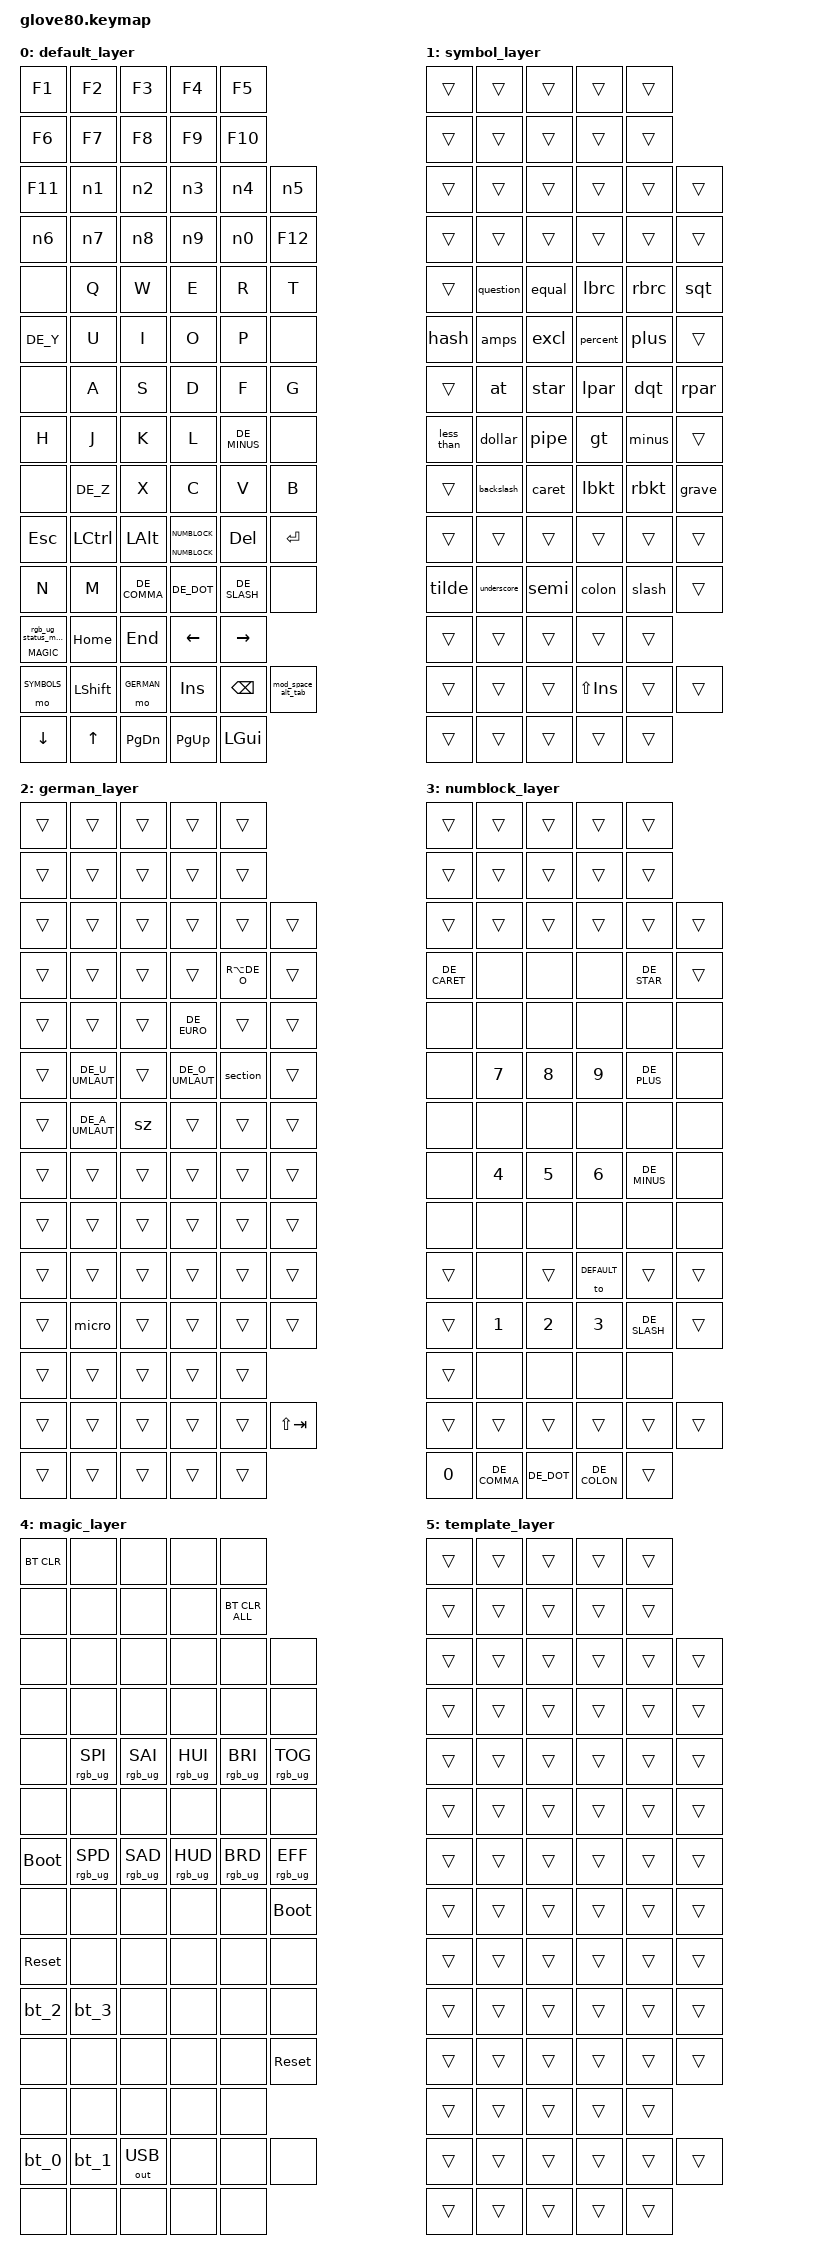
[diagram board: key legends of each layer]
/*
 * Copyright (c) 2020 The ZMK Contributors
 *
 * SPDX-License-Identifier: MIT
 */

#include <behaviors.dtsi>
#include <dt-bindings/zmk/keys.h>
#include <dt-bindings/zmk/bt.h>
#include <dt-bindings/zmk/ext_power.h>
#include <dt-bindings/zmk/outputs.h>
#include <dt-bindings/zmk/rgb.h>

// This layout assumes the host system to use a German keyboard layout!
#include "keys_de.h"

#define HYPER LC(LS(LG(LALT)))

// ø
#define DE_AVG RA(DE_O)

// layers
#define DEFAULT 0
#define SYMBOLS 1
#define GERMAN 2
#define NUMBLOCK 3
#define MAGIC 4

// ZMK behaviors
// &kp key: key press
// &none: nop
// &trans: transparent (use active layer below)
// &mo layer: momentary layer
// &sk key: sticky key (like &kp key but keep pressed until next key is pressed)
// &sl layer: sticky layer
// &to layer: to layer (disable other layers except DEFAULT)
// &lt layer key: layer tab (&mo layer on hold, &kp key on tab)
// &tog layer: toggle layer
// &ht_hp key1 key2: hold tab hold prefered (&kp key1 on hold, &kp key2 on tab)
// &mt key1 key2: mod tap (&ht_hp key1 key2)
// &ht_bl key1 key2: hold tab balanced
// &ht_tp key1 key2: hold tab tab prefered
// &ht_mo_kp layer key: like &ht_bl but with first parameter being a &mo layer
// &ht_mo_to layer1 layer2: like &ht_mo_kp but with second parameter being a &to layer
// &sys_reset: system reset
// &bootloader: start bootloader mode

// Custom behaviors
// &mod_space_tab: mod morph space to tab (&kp SPACE by default, &kp TAB if LSHFT, RSHIFT, LALT or RALT is active)
// &magic layer rgb_ug: MoErgo magic key (tab for keyboard status, hold for magic layer)
// td_symbols: tab dance to SYMBOLS (once for &mo SYMBOLS, twice for &to SYMBOLS)

#define NO_SHIFT(name, key) KP_SHIFT(name, key, key)

#define KP_SHIFT(name, key, shifted)  name: kp_shift_ ## name { compatible = "zmk,behavior-mod-morph"; #binding-cells = <0>; bindings = <&kp key>, <&kp shifted>; mods = <(MOD_LGUI|MOD_LSFT|MOD_RSFT)>; }

/ {
    behaviors {
        td_symbols: tap_dance_0 {
            compatible = "zmk,behavior-tap-dance";
            label = "LAYER_TAP_DANCE";
            #binding-cells = <0>;
            tapping-term-ms = <200>;
            bindings = <&sl SYMBOLS>, <&to SYMBOLS>;
        };

        magic: magic_hold_tap {
            compatible = "zmk,behavior-hold-tap";
            label = "MAGIC_HOLD_TAP";
            #binding-cells = <2>;
            flavor = "tap-preferred";
            tapping-term-ms = <200>;
            bindings = <&mo>, <&rgb_ug_status_macro>;
        };

        ht_mo_kp: hold_tap_balanced_mo_kp {
            compatible = "zmk,behavior-hold-tap";
            flavor = "balanced";
            tapping-term-ms = <200>;
            #binding-cells = <2>;
            bindings = <&mo>, <&kp>;
        };

        ht_mo_to: hold_tap_balanced_mo_to {
            compatible = "zmk,behavior-hold-tap";
            flavor = "balanced";
            tapping-term-ms = <200>;
            #binding-cells = <2>;
            bindings = <&mo>, <&kp>;
        };

        mod_space_tab: mod_morph_space_tab {
            compatible = "zmk,behavior-mod-morph";
            #binding-cells = <0>;
            bindings = <&kp SPACE>, <&kp TAB>;
            mods = <(MOD_LSFT|MOD_RSFT)>;
        };

        mod_space_alt_tab: mod_morph_space_alt_tab {
            compatible = "zmk,behavior-mod-morph";
            #binding-cells = <0>;
            bindings = <&mod_space_tab>, <&kp LA(TAB)>;
            mods = <(MOD_LALT)>;
        };

        mod_bspc_del: mod_morph_backspace_delete {
            compatible = "zmk,behavior-mod-morph";
            #binding-cells = <0>;
            bindings = <&kp BSPC>, <&kp DEL>;
            mods = <(MOD_LSFT|MOD_RSFT)>;
        };

        skq: sticky_key_quick_release {
            compatible = "zmk,behavior-sticky-key";
            #binding-cells = <1>;
            bindings = <&kp>;
            release-after-ms = <1000>;
            quick-release;
            ignore-modifiers;
        };

        // the following keys should not be modified by shift
        NO_SHIFT(n0, N0);
        NO_SHIFT(n1, N1);
        NO_SHIFT(n2, N2);
        NO_SHIFT(n3, N3);
        NO_SHIFT(n4, N4);
        NO_SHIFT(n5, N5);
        NO_SHIFT(n6, N6);
        NO_SHIFT(n7, N7);
        NO_SHIFT(n8, N8);
        NO_SHIFT(n9, N9);

        NO_SHIFT(question, DE_QUESTION);
        NO_SHIFT(equal, DE_EQUAL);
        NO_SHIFT(lbrc, DE_LBRC);
        NO_SHIFT(sqt, DE_SQT);
        NO_SHIFT(rbrc, DE_RBRC);
        NO_SHIFT(hash, DE_HASH);
        NO_SHIFT(amps, DE_AMPS);
        NO_SHIFT(excl, DE_EXCL);
        NO_SHIFT(percent, DE_PERCENT);
        NO_SHIFT(plus, DE_PLUS);
        NO_SHIFT(at, DE_AT);
        NO_SHIFT(star, DE_STAR);
        NO_SHIFT(lpar, DE_LPAR);
        NO_SHIFT(dqt, DE_DQT);
        NO_SHIFT(rpar, DE_RPAR);
        NO_SHIFT(less_than, DE_LT); // &lt is already in use for layer-tab
        NO_SHIFT(dollar, DE_DOLLAR);
        NO_SHIFT(pipe, DE_PIPE);
        NO_SHIFT(gt, DE_GT);
        NO_SHIFT(minus, DE_MINUS);
        NO_SHIFT(backslash, DE_BACKSLASH);
        NO_SHIFT(caret, DE_CARET);
        NO_SHIFT(lbkt, DE_LBKT);
        NO_SHIFT(grave, DE_GRAVE);
        NO_SHIFT(rbkt, DE_RBKT);
        NO_SHIFT(tilde, DE_TILDE);
        NO_SHIFT(underscore, DE_UNDERSCORE);
        NO_SHIFT(semi, DE_SEMI);
        NO_SHIFT(colon, DE_COLON);
        NO_SHIFT(slash, DE_SLASH);

        NO_SHIFT(sz, DE_SZ);
        NO_SHIFT(section, DE_SECTION);
        NO_SHIFT(micro, DE_MICRO);
    };

    macros {
        rgb_ug_status_macro: rgb_ug_status_macro_0 {
            label = "RGB_UG_STATUS";
            compatible = "zmk,behavior-macro";
            #binding-cells = <0>;
            bindings
                = <&rgb_ug RGB_STATUS>;
        };

        bt_0: bt_profile_macro_0 {
            label = "BT_0";
            compatible = "zmk,behavior-macro";
            #binding-cells = <0>;
            bindings
                = <&out OUT_BLE>,
                  <&bt BT_SEL 0>;
        };

        bt_1: bt_profile_macro_1 {
            label = "BT_1";
            compatible = "zmk,behavior-macro";
            #binding-cells = <0>;
            bindings
                = <&out OUT_BLE>,
                  <&bt BT_SEL 1>;
        };

        bt_2: bt_profile_macro_2 {
            label = "BT_2";
            compatible = "zmk,behavior-macro";
            #binding-cells = <0>;
            bindings
                = <&out OUT_BLE>,
                  <&bt BT_SEL 2>;
        };

        bt_3: bt_profile_macro_3 {
            label = "BT_3";
            compatible = "zmk,behavior-macro";
            #binding-cells = <0>;
            bindings
                = <&out OUT_BLE>,
                  <&bt BT_SEL 3>;
        };
    };

    keymap {
        compatible = "zmk,keymap";

        // DEFAULT
        //F|F1 |F2 |F3 |F4 |F5 | __ | __ | __ | __ | | __ | __ | __ | __ |F6 |F7 |F8 |F9 |F10|
        //N|F11| 1 | 2 | 3 | 4 | 5  | __ | __ | __ | | __ | __ | __ |  6 | 7 | 8 | 9 | 0 |F12|
        // |   | Q | W | E | R | T  | __ | __ | __ | | __ | __ | __ |  Y | U | I | O | P |   |
        //>|   | A | S | D | F | G  | __ | __ | __ | | __ | __ | __ |  H | J | K | L | - |   |
        // |   | Z | X | C | V | B  | Esc|Ctrl|LAlt| |NUMB|Del |Ret |  N | M | , | . | / |   |
        //L|Mag|Hom|End|Lft|Rgt| __ |SYMB|Shft|GERM| |Ins |Bksp|Spce| __ |Dwn|Up |PDn|PUp|Sys|
        // Spce: &mod_space_alt_tab
        // thumb cluster left mostly contains modifier keys
        // thumb cluster right contains whitespace keys
        default_layer {
            bindings =
                // function row (2 * 5 keys)
                <&kp F1 &kp F2 &kp F3 &kp F4 &kp F5>,
                <&kp F6 &kp F7 &kp F8 &kp F9 &kp F10>,

                // number row (2 * 6 keys)
                <&kp F11 &n1 &n2 &n3 &n4 &n5>,
                <&n6 &n7 &n8 &n9 &n0 &kp F12>,

                // upper row (2 * 6 keys)
                <&none &kp Q &kp W &kp E &kp R &kp T>,
                <&kp DE_Y &kp U &kp I &kp O &kp P &none>,

                // home row (2 * 6 keys)
                <&none &kp A &kp S &kp D &kp F &kp G>,
                <&kp H &kp J &kp K &kp L &kp DE_MINUS &none>,

                // lower row left (6 keys)
                <&none &kp DE_Z &kp X &kp C &kp V &kp B>,
                // tumb upper (6 keys)
                <&kp ESC &kp LCTRL &kp LALT &ht_mo_to NUMBLOCK NUMBLOCK &kp DEL &kp RET>,
                // lower row right (6 keys)
                <&kp N &kp M &kp DE_COMMA &kp DE_DOT &kp DE_SLASH &none>,

                // lowest left (5 keys)
                <&magic MAGIC 0 &kp HOME &kp END &kp LEFT &kp RIGHT>,
                // tumb lower (6 keys)
                <&mo SYMBOLS &kp LSHFT &mo GERMAN &kp INSERT &kp BSPC &mod_space_alt_tab>,
                // lowest right (5 keys)
                <&kp DOWN &kp UP &kp PG_DN &kp PG_UP &kp LGUI>
            ;
        };

        // SYMBOLS
        //F|   |   |   |   |   | __ | __ | __ | __ | | __ | __ | __ | __ |   |   |   |   |   |
        //N|   |   |   |   |   |    | __ | __ | __ | | __ | __ | __ |    |   |   |   |   |   |
        // |   | ? | = | { | } | '  | __ | __ | __ | | __ | __ | __ |  # | & | ! | % | + |   |
        //>|   | @ | * | ( | " | )  | __ | __ | __ | | __ | __ | __ |  < | $ |Pip| > | - |   |
        // |   | \ | ^ | [ | ] | `  |    |    |    | |    |    |    |  ~ | _ | ; | : | / |   |
        //L|Mag|   |   |   |   | __ |    |    |    | |SIns|    |    | __ |   |   |   |   |   |
        symbol_layer {
            bindings =
                // function row
                <&trans &trans &trans &trans &trans>,
                <&trans &trans &trans &trans &trans>,

                // number row
                <&trans &trans &trans &trans &trans &trans>,
                <&trans &trans &trans &trans &trans &trans>,

                // upper row
                <&trans &question &equal &lbrc &rbrc &sqt>,
                <&hash &amps &excl &percent &plus &trans>,

                // home row
                <&trans &at &star &lpar &dqt &rpar>,
                <&less_than &dollar &pipe &gt &minus &trans>,

                // lower row left
                <&trans &backslash &caret &lbkt &rbkt &grave>,
                // tumb upper
                <&trans &trans &trans &trans &trans &trans>,
                // lower row right
                <&tilde &underscore &semi &colon &slash &trans>,

                // lowest left
                <&trans &trans &trans &trans &trans>,
                // tumb lower
                <&trans &trans &trans &kp LS(INSERT) &trans &trans>,
                // lowest right
                <&trans &trans &trans &trans &trans>
            ;
        };

        // GERMAN
        //F|   |   |   |   |   | __ | __ | __ | __ | | __ | __ | __ | __ |   |   |   |   |   |
        //N|   |   |   |   |   |    | __ | __ | __ | | __ | __ | __ |    |   |   |   | ø |   |
        // |   |   |   | € |   |    | __ | __ | __ | | __ | __ | __ |    | Ü |   | Ö | § |   |
        //>|   | Ä | ß |   |   |    | __ | __ | __ | | __ | __ | __ |    |   |   |   |   |   |
        // |   |   |   |   |   |    |    |    |    | |    |    |    |    | µ |   |   |   |   |
        //L|Mag|   |   |   |   | __ |    |    |    | |    |    |STab| __ |   |   |   |   |   |
        german_layer {
            bindings =
                // function row
                <&trans &trans &trans &trans &trans>,
                <&trans &trans &trans &trans &trans>,

                // number row
                <&trans &trans &trans &trans &trans &trans>,
                <&trans &trans &trans &trans &kp DE_AVG &trans>,

                // upper row
                <&trans &trans &trans &kp DE_EURO &trans &trans>,
                <&trans &kp DE_U_UMLAUT &trans &kp DE_O_UMLAUT &section &trans>,

                // home row
                <&trans &kp DE_A_UMLAUT &sz &trans &trans &trans>,
                <&trans &trans &trans &trans &trans &trans>,

                // lower row left
                <&trans &trans &trans &trans &trans &trans>,
                // tumb upper
                <&trans &trans &trans &trans &trans &trans>,
                // lower row right
                <&trans &micro &trans &trans &trans &trans>,

                // lowest left
                <&trans &trans &trans &trans &trans>,
                // tumb lower
                <&trans &trans &trans &trans &trans &kp LS(TAB)>,
                // lowest right
                <&trans &trans &trans &trans &trans>
            ;
        };


        // NUMBLOCK
        //F|   |   |   |   |   | __ | __ | __ | __ | | __ | __ | __ | __ |   |   |   |   |   |
        //N|   |   |   |   |   |    | __ | __ | __ | | __ | __ | __ |  ^ |   |   |   | * |   |
        // |   |   |   |   |   |    | __ | __ | __ | | __ | __ | __ |    | 7 | 8 | 9 | + |   |
        //>|   |   |   |   |   |    | __ | __ | __ | | __ | __ | __ |    | 4 | 5 | 6 | - |   |
        // |   |   |   |   |   |    |    |    |    | |DEFA|    |    |    | 1 | 2 | 3 | / |   |
        //L|Mag|   |   |   |   | __ |    |    |    | |    |    |    | __ | 0 | , | . | : |   |
        numblock_layer {
            bindings =
              // fuction row
              <&trans &trans &trans &trans &trans>,
              <&trans &trans &trans &trans &trans>,

              // number row
              <&trans &trans &trans &trans &trans &trans>,
              <&kp DE_CARET &none &none &none &kp DE_STAR &trans>,

              // upper
              <&none &none &none &none &none &none>,
              <&none &kp N7 &kp N8 &kp N9 &kp DE_PLUS &none>,

              // home row
              <&none &none &none &none &none &none>,
              <&none &kp N4 &kp N5 &kp N6 &kp DE_MINUS &none>,

              // lower
              <&none &none &none &none &none &none>,
              <&trans &none &trans &to DEFAULT &trans &trans>,
              <&trans &kp N1 &kp N2 &kp N3 &kp DE_SLASH &trans>,

              // lowest
              <&trans &none &none &none &none>,
              <&trans &trans &trans &trans &trans &trans>,
              <&kp N0 &kp DE_COMMA &kp DE_DOT &kp DE_COLON &trans>
            ;
        };

        // MAGIC
        //F|BtC|   |   |   |   | __ | __ | __ | __ | | __ | __ | __ | __ |   |   |   |   |BtC|
        //N|   |   |   |   |   |    | __ | __ | __ | | __ | __ | __ |    |   |   |   |   |   |
        // |   |RGB|RGB|RGB|RGB|RGB | __ | __ | __ | | __ | __ | __ |    |   |   |   |   |   |
        //>|BLd|Spd|Sat|Hue|Brd|Efct| __ | __ | __ | | __ | __ | __ |    |   |   |   |   |BLd|
        // |Rst|   |   |   |   |    | BT2| BT3|    | |    |    |    |    |   |   |   |   |Rst|
        //L|Mag|   |   |   |   | __ | BT0| BT1| USB| |    |    |    | __ |   |   |   |   |   |
        magic_layer {
            bindings =
                <&bt BT_CLR &none &none &none &none>,
                <&none &none &none &none &bt BT_CLR_ALL>,

                <&none &none &none &none &none &none>,
                <&none &none &none &none &none &none>,

                <&none &rgb_ug RGB_SPI &rgb_ug RGB_SAI &rgb_ug RGB_HUI &rgb_ug RGB_BRI &rgb_ug RGB_TOG>,
                <&none &none &none &none &none &none>,

                <&bootloader &rgb_ug RGB_SPD &rgb_ug RGB_SAD &rgb_ug RGB_HUD &rgb_ug RGB_BRD &rgb_ug RGB_EFF>,
                <&none &none &none &none &none &bootloader>,

                <&sys_reset &none &none &none &none &none>,
                <&bt_2 &bt_3 &none &none &none &none>,
                <&none &none &none &none &none &sys_reset>,

                <&none &none &none &none &none>,
                <&bt_0 &bt_1 &out OUT_USB &none &none &none>,
                <&none &none &none &none &none>
            ;
        };

        // RGB
        //F|   |   |Cap|Num|Scr| __ | __ | __ | __ | | __ | __ | __ | __ |   |   |   |   |   |
        //N|DEF|SYM|GER|NUM|MAG|    | __ | __ | __ | | __ | __ | __ |    |   |   |   |   |   |
        // |UbL|UbL|UbL|UbL|UbL|UbL | __ | __ | __ | | __ | __ | __ |    |   |   |   |   |   |
        //>|UbR|UbR|UbR|UbR|UbR|UbR | __ | __ | __ | | __ | __ | __ |    |   |   |   |   |   |
        // |   |   |   |   |   |    | BT2| BT3|    | |    |    |    |    |   |   |   |   |   |
        //L|Mag|   |   |   |   | __ | BT0| BT1| USB| |    |    |    | __ |   |   |   |   |   |


        // TEMPLATE
        //F|   |   |   |   |   | __ | __ | __ | __ | | __ | __ | __ | __ |   |   |   |   |   |
        //N|   |   |   |   |   |    | __ | __ | __ | | __ | __ | __ |    |   |   |   |   |   |
        // |   |   |   |   |   |    | __ | __ | __ | | __ | __ | __ |    |   |   |   |   |   |
        //>|   |   |   |   |   |    | __ | __ | __ | | __ | __ | __ |    |   |   |   |   |   |
        // |   |   |   |   |   |    |    |    |    | |    |    |    |    |   |   |   |   |   |
        //L|Mag|   |   |   |   | __ |    |    |    | |    |    |    | __ |   |   |   |   |   |
        template_layer {
            bindings =
                // function row
                <&trans &trans &trans &trans &trans>,
                <&trans &trans &trans &trans &trans>,

                // number row
                <&trans &trans &trans &trans &trans &trans>,
                <&trans &trans &trans &trans &trans &trans>,

                // upper row
                <&trans &trans &trans &trans &trans &trans>,
                <&trans &trans &trans &trans &trans &trans>,

                // home row
                <&trans &trans &trans &trans &trans &trans>,
                <&trans &trans &trans &trans &trans &trans>,

                // lower row
                <&trans &trans &trans &trans &trans &trans>,
                <&trans &trans &trans &trans &trans &trans>,
                <&trans &trans &trans &trans &trans &trans>,

                // lowest row
                <&trans &trans &trans &trans &trans>,
                <&trans &trans &trans &trans &trans &trans>,
                <&trans &trans &trans &trans &trans>
            ;
        };
    };
};
